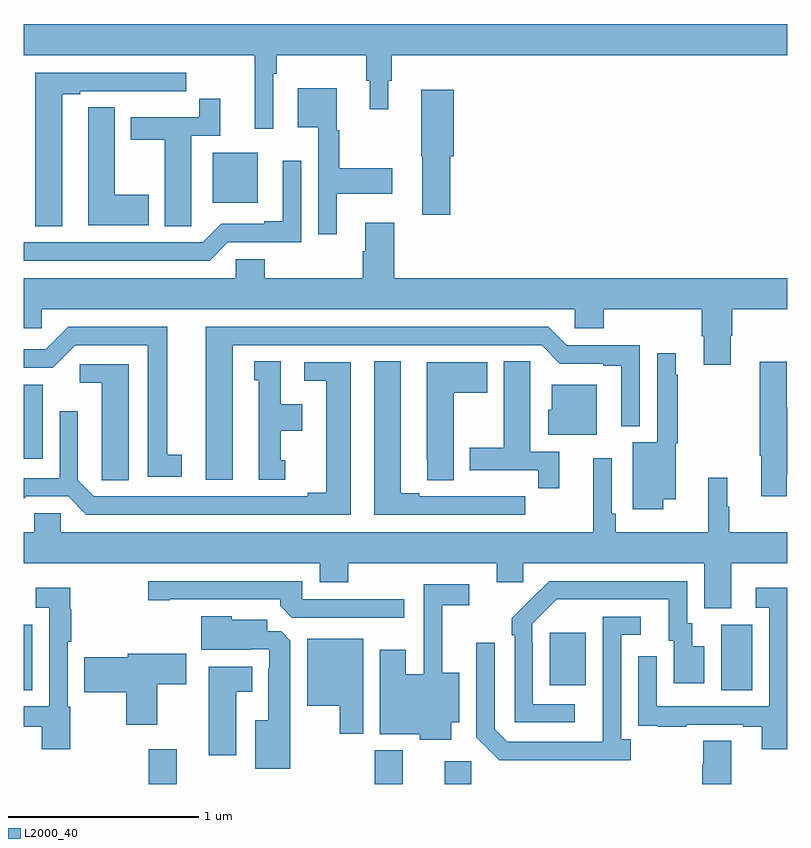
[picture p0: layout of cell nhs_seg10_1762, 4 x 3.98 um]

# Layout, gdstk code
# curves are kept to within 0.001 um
import gdstk
lib = gdstk.Library(unit=1e-6, precision=1e-09)
def R(c, l, rs):  # rectangles x0, y0, x1, y1
    for r in rs: c.add(gdstk.rectangle(r[:2], r[2:], *l))
def P(c, l, *ps):  # polygons
    for p in ps: c.add(gdstk.Polygon(p, *l))
L2000_40 = (2000, 40)

nhs_seg10_1762 = lib.new_cell('nhs_seg10_1762')
R(nhs_seg10_1762, L2000_40, [(203.653,1292.5,203.8,1292.683), (204.838,1292.5,204.985,1292.677), (205.205,1292.5,205.344,1292.62), (203,1292.992,203.044,1293.336), (206.654,1292.992,206.818,1293.336), (205.757,1293.017,205.945,1293.292), (203,1294.206,203.098,1294.594), (203.99,1295.546,204.226,1295.809)])
P(nhs_seg10_1762, L2000_40, [(204.306,1296.224),(204.326,1296.224),(204.326,1296.32),(204.793,1296.32),(204.793,1296.186),(204.812,1296.186),(204.812,1296.036),(204.91,1296.036),(204.91,1296.186),(204.929,1296.186),(204.929,1296.32),(207,1296.32),(207,1296.484),(203,1296.484),(203,1296.32),(204.209,1296.32),(204.209,1295.934),(204.306,1295.934)],
  [(203.2,1296.117),(203.296,1296.117),(203.296,1296.132),(203.572,1296.132),(203.572,1296.131),(203.738,1296.131),(203.738,1296.132),(203.851,1296.132),(203.851,1296.228),(203.06,1296.228),(203.06,1295.425),(203.2,1295.425)],
  [(204.64,1295.594),(204.931,1295.594),(204.931,1295.729),(204.652,1295.729),(204.652,1295.928),(204.64,1295.928),(204.64,1296.148),(204.434,1296.148),(204.434,1295.942),(204.543,1295.942),(204.543,1295.382),(204.64,1295.382)],
  [(205.235,1295.79),(205.253,1295.79),(205.253,1296.139),(205.082,1296.139),(205.082,1295.79),(205.088,1295.79),(205.088,1295.484),(205.235,1295.484)],
  [(203.877,1295.536),(203.878,1295.536),(203.878,1295.898),(204.029,1295.898),(204.029,1296.091),(203.92,1296.091),(203.92,1295.994),(203.561,1295.994),(203.561,1295.878),(203.738,1295.878),(203.738,1295.425),(203.877,1295.425)],
  [(203.653,1295.589),(203.476,1295.589),(203.476,1296.047),(203.337,1296.047),(203.337,1295.939),(203.336,1295.939),(203.336,1295.429),(203.653,1295.429)],
  [(204.069,1295.34),(204.453,1295.34),(204.453,1295.767),(204.356,1295.767),(204.356,1295.449),(204.26,1295.449),(204.26,1295.436),(204.033,1295.436),(203.937,1295.34),(203,1295.34),(203,1295.244),(203.973,1295.244)],
  [(206.704,1294.851),(206.712,1294.851),(206.712,1294.988),(207,1294.988),(207,1295.152),(204.941,1295.152),(204.941,1295.443),(204.788,1295.443),(204.788,1295.294),(204.776,1295.294),(204.776,1295.152),(204.263,1295.152),(204.263,1295.25),(204.111,1295.25),(204.111,1295.152),(203,1295.152),(203,1294.89),(203.094,1294.89),(203.094,1294.988),(205.887,1294.988),(205.887,1294.89),(206.039,1294.89),(206.039,1294.988),(206.552,1294.988),(206.552,1294.846),(206.564,1294.846),(206.564,1294.698),(206.704,1294.698)],
  [(203.827,1294.226),(203.752,1294.226),(203.752,1294.896),(203.232,1294.896),(203.115,1294.779),(203,1294.779),(203,1294.683),(203.151,1294.683),(203.268,1294.8),(203.648,1294.8),(203.648,1294.11),(203.827,1294.11)],
  [(204.094,1294.8),(205.713,1294.8),(205.809,1294.704),(206.036,1294.704),(206.036,1294.692),(206.132,1294.692),(206.132,1294.376),(206.229,1294.376),(206.229,1294.8),(205.845,1294.8),(205.749,1294.896),(203.954,1294.896),(203.954,1294.095),(204.094,1294.095)],
  [(206.35,1293.992),(206.416,1293.992),(206.416,1294.287),(206.428,1294.287),(206.428,1294.646),(206.416,1294.646),(206.416,1294.759),(206.319,1294.759),(206.319,1294.291),(206.192,1294.291),(206.192,1293.939),(206.35,1293.939)],
  [(204.37,1294.197),(204.346,1294.197),(204.346,1294.352),(204.46,1294.352),(204.46,1294.492),(204.346,1294.492),(204.346,1294.715),(204.206,1294.715),(204.206,1294.617),(204.23,1294.617),(204.23,1294.095),(204.37,1294.095)],
  [(205.627,1294.008),(205.514,1294.008),(205.514,1294.009),(205.348,1294.009),(205.348,1294.008),(205.072,1294.008),(205.072,1294.023),(204.976,1294.023),(204.976,1294.715),(204.836,1294.715),(204.836,1293.912),(205.627,1293.912)],
  [(205.805,1294.242),(205.654,1294.242),(205.654,1294.604),(205.653,1294.604),(205.653,1294.715),(205.514,1294.715),(205.514,1294.263),(205.337,1294.263),(205.337,1294.146),(205.696,1294.146),(205.696,1294.05),(205.805,1294.05)],
  [(206.998,1294.12),(207,1294.12),(207,1294.475),(206.998,1294.475),(206.998,1294.714),(206.857,1294.714),(206.857,1294.22),(206.864,1294.22),(206.864,1294.008),(206.998,1294.008)],
  [(205.252,1294.552),(205.429,1294.552),(205.429,1294.711),(205.112,1294.711),(205.112,1294.201),(205.113,1294.201),(205.113,1294.093),(205.252,1294.093)],
  [(204.712,1294.71),(204.468,1294.71),(204.468,1294.614),(204.584,1294.614),(204.584,1294.028),(204.488,1294.028),(204.488,1294.008),(203.367,1294.008),(203.283,1294.092),(203.283,1294.453),(203.187,1294.453),(203.187,1294.104),(203,1294.104),(203,1293.995),(203.013,1294.008),(203.231,1294.008),(203.327,1293.912),(204.712,1293.912)],
  [(203.548,1294.701),(203.292,1294.701),(203.292,1294.604),(203.408,1294.604),(203.408,1294.201),(203.409,1294.201),(203.409,1294.093),(203.548,1294.093)],
  [(206.002,1294.594),(205.766,1294.594),(205.766,1294.461),(205.748,1294.461),(205.748,1294.331),(206.002,1294.331)],
  [(206.707,1293.656),(207,1293.656),(207,1293.82),(206.698,1293.82),(206.698,1293.954),(206.686,1293.954),(206.686,1294.105),(206.587,1294.105),(206.587,1293.82),(206.102,1293.82),(206.102,1293.916),(206.082,1293.916),(206.082,1294.207),(205.985,1294.207),(205.985,1293.82),(203.193,1293.82),(203.193,1293.918),(203.055,1293.918),(203.055,1293.82),(203,1293.82),(203,1293.656),(204.551,1293.656),(204.551,1293.557),(204.699,1293.557),(204.699,1293.656),(205.478,1293.656),(205.478,1293.558),(205.617,1293.558),(205.617,1293.656),(206.567,1293.656),(206.567,1293.421),(206.707,1293.421)],
  [(205.888,1292.919),(205.668,1292.919),(205.668,1293.239),(205.665,1293.239),(205.665,1293.339),(205.794,1293.468),(206.381,1293.468),(206.381,1293.252),(206.405,1293.252),(206.405,1293.027),(206.566,1293.027),(206.566,1293.223),(206.503,1293.223),(206.503,1293.342),(206.478,1293.342),(206.478,1293.564),(205.754,1293.564),(205.557,1293.369),(205.557,1293.281),(205.572,1293.281),(205.572,1292.823),(205.888,1292.823)],
  [(204.994,1293.468),(204.459,1293.468),(204.459,1293.564),(203.652,1293.564),(203.652,1293.463),(203.764,1293.463),(203.764,1293.468),(204.344,1293.468),(204.344,1293.434),(204.405,1293.372),(204.994,1293.372)],
  [(205.24,1292.825),(205.282,1292.825),(205.282,1293.082),(205.193,1293.082),(205.193,1293.438),(205.333,1293.438),(205.333,1293.546),(205.095,1293.546),(205.095,1293.076),(205,1293.076),(205,1293.205),(204.866,1293.205),(204.866,1292.762),(205.075,1292.762),(205.075,1292.732),(205.24,1292.732)],
  [(207,1293.529),(206.835,1293.529),(206.835,1293.423),(206.907,1293.423),(206.907,1292.907),(206.316,1292.907),(206.316,1293.169),(206.22,1293.169),(206.22,1292.914),(206.221,1292.914),(206.221,1292.805),(206.323,1292.805),(206.323,1292.799),(206.471,1292.799),(206.471,1292.811),(206.771,1292.811),(206.771,1292.799),(206.867,1292.799),(206.867,1292.682),(207,1292.682)],
  [(203.242,1292.904),(203.229,1292.904),(203.229,1293.247),(203.249,1293.247),(203.249,1293.416),(203.242,1293.416),(203.242,1293.529),(203.061,1293.529),(203.061,1293.423),(203.133,1293.423),(203.133,1292.907),(203,1292.907),(203,1292.799),(203.093,1292.799),(203.093,1292.682),(203.242,1292.682)],
  [(204.397,1293.251),(204.348,1293.3),(204.274,1293.3),(204.274,1293.361),(204.09,1293.361),(204.09,1293.379),(203.93,1293.379),(203.93,1293.203),(204.185,1293.203),(204.185,1293.207),(204.285,1293.207),(204.285,1293.107),(204.281,1293.107),(204.281,1292.833),(204.212,1292.833),(204.212,1292.579),(204.397,1292.579)],
  [(206.182,1292.734),(206.13,1292.734),(206.13,1293.282),(206.233,1293.282),(206.233,1293.378),(206.034,1293.378),(206.033,1292.721),(205.533,1292.721),(205.467,1292.787),(205.467,1293.241),(205.371,1293.241),(205.371,1292.745),(205.492,1292.624),(206.182,1292.624)],
  [(204.778,1293.262),(204.485,1293.262),(204.485,1292.909),(204.656,1292.909),(204.656,1292.763),(204.778,1292.763)],
  [(203.698,1293.022),(203.851,1293.022),(203.851,1293.184),(203.543,1293.184),(203.543,1293.164),(203.316,1293.164),(203.316,1292.981),(203.536,1292.981),(203.536,1292.811),(203.698,1292.811)],
  [(204.112,1292.984),(204.196,1292.984),(204.196,1293.115),(203.969,1293.115),(203.969,1292.652),(204.112,1292.652)],
  [(206.707,1292.726),(206.56,1292.726),(206.56,1292.601),(206.555,1292.601),(206.555,1292.5),(206.707,1292.5)])

lib.write_gds('nhs_seg10_1762.gds')
